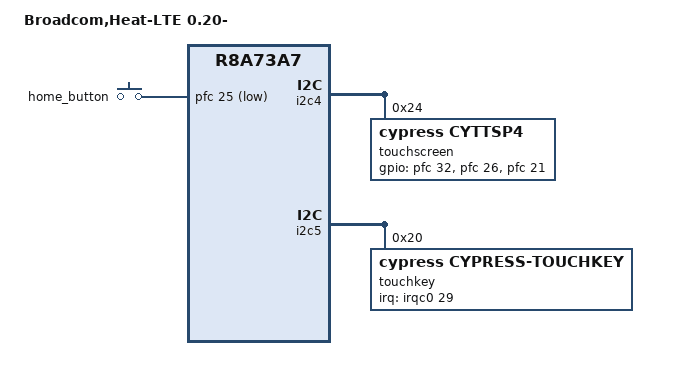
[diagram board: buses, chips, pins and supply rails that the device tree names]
/******************************************************************************/
/*                                                                            */
/* Copyright 2013 Broadcom Corporation                                        */
/*                                                                            */
/* Unless you and Broadcom execute a separate written software license        */
/* agreement governing use of this software, this software is licensed        */
/* to you under the terms of the GNU General Public License version 2         */
/* (the GPL), available at                                                    */
/*                                                                            */
/* http://www.broadcom.com/licenses/GPLv2.php                                 */
/*                                                                            */
/* with the following added to such license:                                  */
/*                                                                            */
/* As a special exception, the copyright holders of this software give        */
/* you permission to link this software with independent modules, and         */
/* to copy and distribute the resulting executable under terms of your        */
/* choice, provided that you also meet, for each linked independent           */
/* module, the terms and conditions of the license of that module.            */
/* An independent module is a module which is not derived from this           */
/* software. The special exception does not apply to any modifications        */
/* of the software.                                                           */
/*                                                                            */
/* Notwithstanding the above, under no circumstances may you combine          */
/* this software in any way with any other Broadcom software provided         */
/* under a license other than the GPL, without Broadcom's express             */
/* prior written consent.                                                     */
/*                                                                            */
/******************************************************************************/

/dts-v1/;
#ifdef SECURE_CARVEOUT  // Allow secure variant to insert memreserve, normally do nothing.
SECURE_CARVEOUT
#endif
#include "r8a73a7.dtsi"
#include "heatlte-common.dtsi"

/{

	model = "Broadcom,Heat-LTE 0.20-";
};

&home_button {
	gpios = <&pfc 25 GPIO_ACTIVE_LOW>;
};

&pfc {
	key_pins: keys {
		renesas,pins = "PORT1", "PORT2", "PORT25";
	};

	touchkey_pins: touchkey {
		renesas,groups = "irqc_irq29";
		renesas,function = "irqc";
		bias-pull-up;
	};
};

&i2c4 {
	touchscreen@24 {
		compatible = "cypress,cyttsp4";
		reg = <0x24>;
		tname = "Cypress-Heat";
		gpios = <&pfc 32 GPIO_ACTIVE_HIGH>,
			<&pfc 26 GPIO_ACTIVE_HIGH>,
			<&pfc 21 GPIO_ACTIVE_HIGH>;
	};
};

&i2c5 {
	/* Most boards don't use this bus, so not enabled by default */
	status = "okay";

	touchkey@20 {
		compatible = "cypress,cypress-touchkey";
		reg = <0x20>;
		interrupt-parent = <&irqc0>;
		interrupts = <29 IRQ_TYPE_EDGE_FALLING>;
		pinctrl-names = "default";
		pinctrl-0 = <&touchkey_pins>;
	};
};

&i2c7{
        status = "disabled";
};
